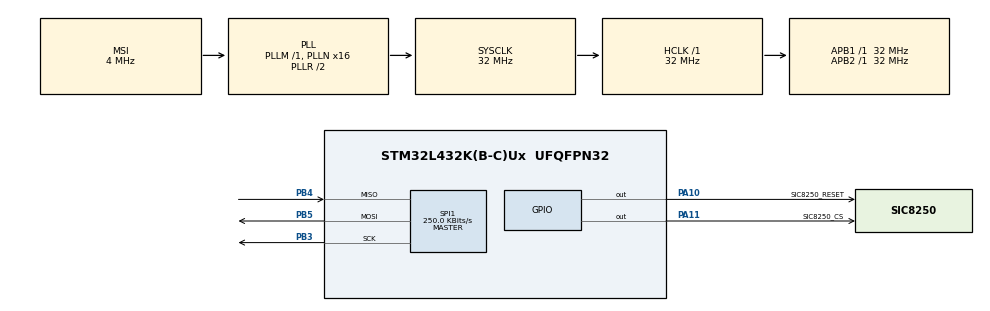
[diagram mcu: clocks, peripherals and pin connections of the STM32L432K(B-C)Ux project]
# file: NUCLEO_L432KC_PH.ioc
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Mcu.Family=STM32L4
Mcu.Name=STM32L432K(B-C)Ux
Mcu.Package=UFQFPN32
NVIC.PriorityGroup=NVIC_PRIORITYGROUP_4
PA0.GPIO_Label=MCO [High speed clock in]
PA0.Signal=RCC_CK_IN
PA13\ (JTMS-SWDIO).GPIO_Label=SWDIO
PA13\ (JTMS-SWDIO).Signal=SYS_JTMS-SWDIO
PA14\ (JTCK-SWCLK).GPIO_Label=SWCLK
PA14\ (JTCK-SWCLK).Signal=SYS_JTCK-SWCLK
PA15\ (JTDI).GPIO_Label=VCP_RX
PA15\ (JTDI).Signal=USART2_RX
PA2.GPIO_Label=VCP_TX
PA2.Signal=USART2_TX
PA10.GPIO_Label=SIC8250_RESET
PA10.Signal=GPIO_Output
PA11.GPIO_Label=SIC8250_CS
PA11.Signal=GPIO_Output
PB3\ (JTDO-TRACESWO).Mode=Full_Duplex_Master
PB3\ (JTDO-TRACESWO).Signal=SPI1_SCK
PB4\ (NJTRST).Mode=Full_Duplex_Master
PB4\ (NJTRST).Signal=SPI1_MISO
PB5.Mode=Full_Duplex_Master
PB5.Signal=SPI1_MOSI
PC14-OSC32_IN\ (PC14).Signal=RCC_OSC32_IN
PC15-OSC32_OUT\ (PC15).Signal=RCC_OSC32_OUT
ProjectManager.HeapSize=0x200
ProjectManager.StackSize=0x400
ProjectManager.TargetToolchain=STM32CubeIDE
RCC.AHBFreq_Value=32000000
RCC.APB1Freq_Value=32000000
RCC.APB1TimFreq_Value=32000000
RCC.APB2Freq_Value=32000000
RCC.APB2TimFreq_Value=32000000
RCC.CortexFreq_Value=32000000
RCC.HCLKFreq_Value=32000000
RCC.HSE_VALUE=8000000
RCC.HSI16_VALUE=16000000
RCC.HSI48_VALUE=48000000
RCC.HSI_VALUE=16000000
RCC.LSE_VALUE=32768
RCC.MSI_VALUE=4000000
RCC.PLLMUL=RCC_PLLMUL_4
RCC.PLLN=16
RCC.SYSCLKFreq_VALUE=32000000
RCC.SYSCLKSource=RCC_SYSCLKSOURCE_PLLCLK
RCC.VCOOutputFreq_Value=64000000
SPI1.BaudRatePrescaler=SPI_BAUDRATEPRESCALER_128
SPI1.CalculateBaudRate=250.0 KBits/s
SPI1.DataSize=SPI_DATASIZE_8BIT
SPI1.Direction=SPI_DIRECTION_2LINES
SPI1.Mode=SPI_MODE_MASTER
SPI1.NSSPMode=SPI_NSS_PULSE_DISABLE
SPI1.VirtualType=VM_MASTER
board=NUCLEO-L432KC

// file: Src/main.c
/* USER CODE BEGIN Header */
/**
  ******************************************************************************
  * @file           : main.c
  * @brief          : Main program body
  ******************************************************************************
  * @attention
  *
  * Copyright (c) 2026 STMicroelectronics.
  * All rights reserved.
  *
  * This software is licensed under terms that can be found in the LICENSE file
  * in the root directory of this software component.
  * If no LICENSE file comes with this software, it is provided AS-IS.
  *
  ******************************************************************************
  */
/* USER CODE END Header */
#include "main.h"

/* USER CODE BEGIN Includes */
#include "ph_app.h"
#include "ph_board_port.h"
#include "ph_command_dispatcher.h"
#include "ph_comm_board_port.h"
#include "ph_communication.h"
#include "spi.h"
/* USER CODE END Includes */

/* USER CODE BEGIN PV */
static ph_app_t ph_app;
static sic8250_device_t ph_device;
static ph_dependencies_t ph_dependencies;
static ph_communication_t ph_communication;
static ph_protocol_frame_t ph_request_frame;
static ph_protocol_frame_t ph_response_frame;
volatile uint32_t g_sic8250_adc_code[PH_CHANNEL_COUNT];
volatile uint8_t g_sic8250_adc_fraction[PH_CHANNEL_COUNT];
volatile sic8250_status_t g_sic8250_channel_status[PH_CHANNEL_COUNT];
/* USER CODE END PV */

void SystemClock_Config(void);
static void MX_GPIO_Init(void);

/* USER CODE BEGIN 0 */

static sic8250_status_t SIC8250_MeasureChannel(
    sic8250_device_t *device,
    uint8_t channel_id,
    uint32_t *adc_code)
{
  bool ready = false;
  sic8250_status_t status;

  status = sic8250_configure_measurement(device, channel_id);
  if (status == SIC8250_STATUS_OK) {
    status = sic8250_start_measurement(device);
  }

  while ((status == SIC8250_STATUS_OK) ||
         (status == SIC8250_STATUS_NOT_READY)) {
    status = sic8250_check_ready(device, channel_id, &ready);
    if ((status == SIC8250_STATUS_OK) && ready) {
      return sic8250_read_adc(device, channel_id, adc_code);
    }
    if (status == SIC8250_STATUS_NOT_READY) {
      HAL_Delay(1U);
    }
  }

  return status;
}

static void SIC8250_MeasureAllChannels(sic8250_device_t *device)
{
  uint8_t channel_id;

  for (channel_id = 0U; channel_id < PH_CHANNEL_COUNT; ++channel_id) {
    uint32_t adc_code = 0U;

    g_sic8250_channel_status[channel_id] =
        SIC8250_MeasureChannel(device, channel_id, &adc_code);
    if (g_sic8250_channel_status[channel_id] == SIC8250_STATUS_OK) {
      g_sic8250_adc_code[channel_id] = adc_code;
      g_sic8250_adc_fraction[channel_id] = device->last_adc_fraction;
    }

    (void)sic8250_stop(device);
  }
}

/* USER CODE END 0 */

int main(void)
{

  /* MCU Configuration--------------------------------------------------------*/

  /* Reset of all peripherals, Initializes the Flash interface and the Systick. */
  HAL_Init();

  /* Configure the system clock */
  SystemClock_Config();

  /* Initialize all configured peripherals */
  MX_GPIO_Init();
  MX_SPI1_Init();
  /* USER CODE BEGIN 2 */
  ph_device.port = ph_board_port_default();
  ph_device.active_channel = PH_CHANNEL_NONE;
  ph_dependencies.device = &ph_device;
  (void)ph_app_init(&ph_app, &ph_dependencies);
  (void)ph_communication_init(
      &ph_communication,
      ph_comm_board_port_default());

  if ((sic8250_init(&ph_device) != SIC8250_STATUS_OK) ||
      (sic8250_load_defaults(&ph_device) != SIC8250_STATUS_OK)) {
    Error_Handler();
  }
  /* USER CODE END 2 */

  /* Infinite loop */
  while (1)
  {

    /* USER CODE BEGIN 3 */
    SIC8250_MeasureAllChannels(&ph_device);
    HAL_Delay(PH_DEFAULT_SAMPLE_PERIOD_MS);
  }
  /* USER CODE END 3 */
}

void SystemClock_Config(void)
{
  RCC_OscInitTypeDef RCC_OscInitStruct = {0};
  RCC_ClkInitTypeDef RCC_ClkInitStruct = {0};

  /** Configure the main internal regulator output voltage
  */
  if (HAL_PWREx_ControlVoltageScaling(PWR_REGULATOR_VOLTAGE_SCALE1) != HAL_OK)
  {
    Error_Handler();
  }

  /** Initializes the RCC Oscillators according to the specified parameters
  * in the RCC_OscInitTypeDef structure.
  */
  RCC_OscInitStruct.OscillatorType = RCC_OSCILLATORTYPE_MSI;
  RCC_OscInitStruct.MSIState = RCC_MSI_ON;
  RCC_OscInitStruct.MSICalibrationValue = 0;
  RCC_OscInitStruct.MSIClockRange = RCC_MSIRANGE_6;
  RCC_OscInitStruct.PLL.PLLState = RCC_PLL_ON;
  RCC_OscInitStruct.PLL.PLLSource = RCC_PLLSOURCE_MSI;
  RCC_OscInitStruct.PLL.PLLM = 1;
  RCC_OscInitStruct.PLL.PLLN = 16;
  RCC_OscInitStruct.PLL.PLLP = RCC_PLLP_DIV7;
  RCC_OscInitStruct.PLL.PLLQ = RCC_PLLQ_DIV2;
  RCC_OscInitStruct.PLL.PLLR = RCC_PLLR_DIV2;
  if (HAL_RCC_OscConfig(&RCC_OscInitStruct) != HAL_OK)
  {
    Error_Handler();
  }

  /** Initializes the CPU, AHB and APB buses clocks
  */
  RCC_ClkInitStruct.ClockType = RCC_CLOCKTYPE_HCLK|RCC_CLOCKTYPE_SYSCLK
                              |RCC_CLOCKTYPE_PCLK1|RCC_CLOCKTYPE_PCLK2;
  RCC_ClkInitStruct.SYSCLKSource = RCC_SYSCLKSOURCE_PLLCLK;
  RCC_ClkInitStruct.AHBCLKDivider = RCC_SYSCLK_DIV1;
  RCC_ClkInitStruct.APB1CLKDivider = RCC_HCLK_DIV1;
  RCC_ClkInitStruct.APB2CLKDivider = RCC_HCLK_DIV1;

  if (HAL_RCC_ClockConfig(&RCC_ClkInitStruct, FLASH_LATENCY_1) != HAL_OK)
  {
    Error_Handler();
  }
}

static void MX_GPIO_Init(void)
{
  GPIO_InitTypeDef GPIO_InitStruct = {0};

  /* GPIO Ports Clock Enable */
  __HAL_RCC_GPIOC_CLK_ENABLE();
  __HAL_RCC_GPIOA_CLK_ENABLE();
  __HAL_RCC_GPIOB_CLK_ENABLE();

  /*Configure GPIO pin Output Level */
  HAL_GPIO_WritePin(SIC8250_CS_GPIO_Port, SIC8250_CS_Pin, GPIO_PIN_SET);
  HAL_GPIO_WritePin(SIC8250_RESET_GPIO_Port, SIC8250_RESET_Pin, GPIO_PIN_RESET);

  /*Configure GPIO pin : VCP_TX_Pin */
  GPIO_InitStruct.Pin = VCP_TX_Pin;
  GPIO_InitStruct.Mode = GPIO_MODE_AF_PP;
  GPIO_InitStruct.Pull = GPIO_NOPULL;
  GPIO_InitStruct.Speed = GPIO_SPEED_FREQ_VERY_HIGH;
  GPIO_InitStruct.Alternate = GPIO_AF7_USART2;
  HAL_GPIO_Init(VCP_TX_GPIO_Port, &GPIO_InitStruct);

  /*Configure GPIO pin : VCP_RX_Pin */
  GPIO_InitStruct.Pin = VCP_RX_Pin;
  GPIO_InitStruct.Mode = GPIO_MODE_AF_PP;
  GPIO_InitStruct.Pull = GPIO_NOPULL;
  GPIO_InitStruct.Speed = GPIO_SPEED_FREQ_VERY_HIGH;
  GPIO_InitStruct.Alternate = GPIO_AF3_USART2;
  HAL_GPIO_Init(VCP_RX_GPIO_Port, &GPIO_InitStruct);

  /* Configure SIC8250 CS (D10/PA11) and RESET (D0/PA10). */
  GPIO_InitStruct.Pin = SIC8250_CS_Pin | SIC8250_RESET_Pin;
  GPIO_InitStruct.Mode = GPIO_MODE_OUTPUT_PP;
  GPIO_InitStruct.Pull = GPIO_NOPULL;
  GPIO_InitStruct.Speed = GPIO_SPEED_FREQ_VERY_HIGH;
  HAL_GPIO_Init(GPIOA, &GPIO_InitStruct);

}

void Error_Handler(void)
{
  __disable_irq();
  while (1)
  {
  }
}
